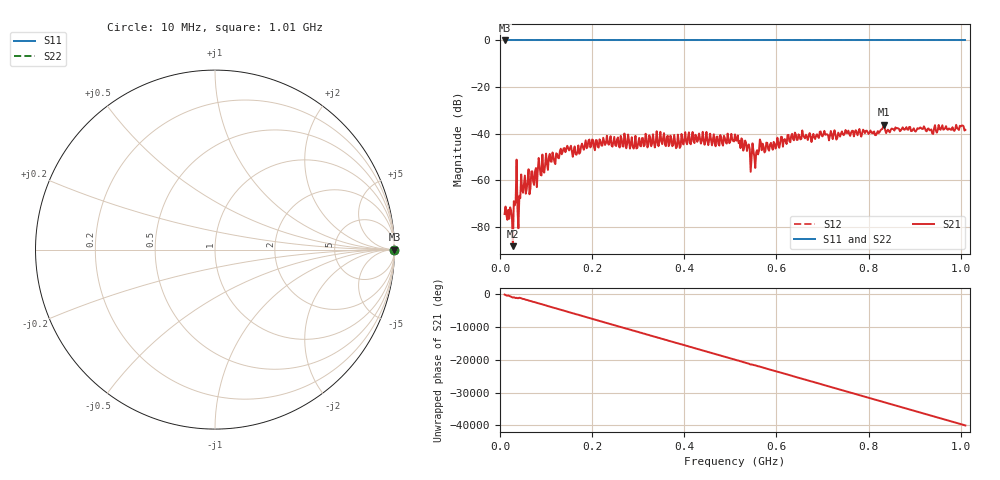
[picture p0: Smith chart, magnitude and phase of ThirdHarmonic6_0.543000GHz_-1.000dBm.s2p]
! 8/15/2025 5:05:58 PM
! C:\ANRITSUVNA\TEMP\TEMP.S2P
! CHANNEL.1
! TR.MEASUREMENT
! RAW.DATA
! RF.CORRECTION.OFF
! AVERAGING.OFF
! IF.BANDWIDTH: 5KHZ
! SWEEPTYPE:  FREQ.SWEEP(Linear)
! Reference Plane Port Info
! PORT:  PORT1  PORT2
! DISTANCE:  0  m  0  m
! TIME:  0  s  0  s
! PHASE.OFFSET:  0  deg.  0  deg.
! LOSS:  0  dB  0  dB
! REF.LOSS:  0  dB  0  dB
! REF.FREQ:  0  Hz  0  Hz
! Power Info
! POWER:  -20  dBm  -20  dBm
! EFF.POWER:  -20  dBm  -20  dBm
! SOURCE.ATTEN:  0  dB  0  dB
! TEST.ATTEN:  0  dB  0  dB
# GHZ S RI R 50.0
! FREQ.GHZ  S11RE  S11IM  S21RE  S21IM  S12RE  S12IM  S22RE  S22IM
!; PortSelection: Port_12
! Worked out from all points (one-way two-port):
!   501 points, 10 MHz to 1.01 GHz, reference 50 ohm
!   highest |S21| = -36.25 dB at 834 MHz (marker M1); lowest = -88.4 dB at 28 MHz (marker M2)
!   lowest |S11| = 0.0 dB at 10 MHz (marker M3)
!   |S11| at or under -10 dB: nowhere
!   |S22| runs from 0.0 to 0.0 dB; largest |S21 - S12| = 1
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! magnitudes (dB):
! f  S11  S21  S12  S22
! 10 MHz  0.0  -74.6  0.0  0.0
! 28 MHz  0.0  -88.4  0.0  0.0
! 34 MHz  0.0  -69.2  0.0  0.0
! 42 MHz  0.0  -66.7  0.0  0.0
! 50 MHz  0.0  -65.5  0.0  0.0
! 76 MHz  0.0  -56.3  0.0  0.0
! 88 MHz  0.0  -57.8  0.0  0.0
! 92 MHz  0.0  -49.0  0.0  0.0
! 104 MHz  0.0  -55.7  0.0  0.0
! 142 MHz  0.0  -48.0  0.0  0.0
! 178 MHz  0.0  -44.4  0.0  0.0
! 344 MHz  0.0  -45.5  0.0  0.0
! 386 MHz  0.0  -40.5  0.0  0.0
! 406 MHz  0.0  -44.6  0.0  0.0
! 510 MHz  0.0  -40.4  0.0  0.0
! 556 MHz  0.0  -48.1  0.0  0.0
! 568 MHz  0.0  -47.2  0.0  0.0
! 572 MHz  0.0  -45.6  0.0  0.0
! 678 MHz  0.0  -41.6  0.0  0.0
! 834 MHz  0.0  -36.3  0.0  0.0
! 844 MHz  0.0  -39.0  0.0  0.0
! 1.01 GHz  0.0  -38.4  0.0  0.0
